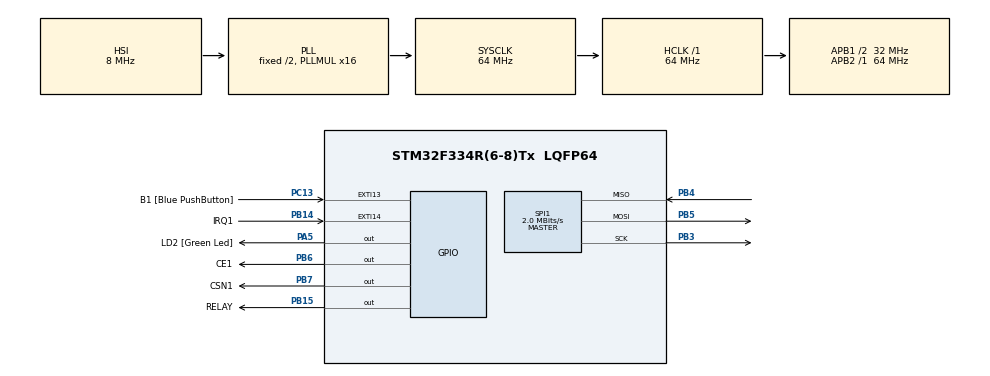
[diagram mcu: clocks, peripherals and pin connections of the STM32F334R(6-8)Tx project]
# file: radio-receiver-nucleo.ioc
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Mcu.Family=STM32F3
Mcu.Name=STM32F334R(6-8)Tx
Mcu.Package=LQFP64
NVIC.EXTI15_10_IRQn=true\:0\:0\:false\:false\:true\:true\:true
NVIC.PriorityGroup=NVIC_PRIORITYGROUP_0
NVIC.TIM1_UP_TIM16_IRQn=true\:0\:0\:false\:false\:true\:true\:true
PA13.GPIO_Label=TMS
PA13.Mode=Serial_Wire
PA13.Signal=SYS_JTMS-SWDIO
PA14.GPIO_Label=TCK
PA14.Mode=Serial_Wire
PA14.Signal=SYS_JTCK-SWCLK
PA2.GPIO_Label=USART_TX
PA2.Signal=USART2_TX
PA3.GPIO_Label=USART_RX
PA3.Signal=USART2_RX
PA5.GPIO_Label=LD2 [Green Led]
PA5.Signal=GPIO_Output
PB14.GPIO_Label=IRQ1
PB14.GPIO_ModeDefaultEXTI=GPIO_MODE_IT_FALLING
PB14.GPIO_PuPd=GPIO_PULLUP
PB14.Signal=GPXTI14
PB15.GPIO_Label=RELAY
PB15.GPIO_PuPd=GPIO_NOPULL
PB15.Signal=GPIO_Output
PB3.Mode=Full_Duplex_Master
PB3.Signal=SPI1_SCK
PB4.Mode=Full_Duplex_Master
PB4.Signal=SPI1_MISO
PB5.Mode=Full_Duplex_Master
PB5.Signal=SPI1_MOSI
PB6.GPIO_Label=CE1
PB6.GPIO_PuPd=GPIO_NOPULL
PB6.Signal=GPIO_Output
PB7.GPIO_Label=CSN1
PB7.Signal=GPIO_Output
PC13.GPIO_Label=B1 [Blue PushButton]
PC13.GPIO_ModeDefaultEXTI=GPIO_MODE_IT_FALLING
PC13.Signal=GPXTI13
PC14\ /\ OSC32_IN.Mode=LSE-External-Oscillator
PC14\ /\ OSC32_IN.Signal=RCC_OSC32_IN
PC15\ /\ OSC32_OUT.GPIO_Label=RCC_OSC32_OUT
PC15\ /\ OSC32_OUT.Mode=LSE-External-Oscillator
PC15\ /\ OSC32_OUT.Signal=RCC_OSC32_OUT
PF0\ /\ OSC_IN.Mode=HSE-External-Clock-Source
PF0\ /\ OSC_IN.Signal=RCC_OSC_IN
PF1\ /\ OSC_OUT.Signal=RCC_OSC_OUT
ProjectManager.HeapSize=0x200
ProjectManager.StackSize=0x400
ProjectManager.TargetToolchain=MDK-ARM V5
RCC.AHBFreq_Value=64000000
RCC.APB1CLKDivider=RCC_HCLK_DIV2
RCC.APB1Freq_Value=32000000
RCC.APB1TimFreq_Value=64000000
RCC.APB2Freq_Value=64000000
RCC.APB2TimFreq_Value=64000000
RCC.CortexFreq_Value=64000000
RCC.FLatency-AdvancedSettings=FLASH_LATENCY_2
RCC.HCLKFreq_Value=64000000
RCC.HSE_VALUE=8000000
RCC.HSI_VALUE=8000000
RCC.PLLMUL=RCC_PLL_MUL16
RCC.SYSCLKFreq_VALUE=64000000
RCC.SYSCLKSourceVirtual=RCC_SYSCLKSOURCE_PLLCLK
SPI1.BaudRatePrescaler=SPI_BAUDRATEPRESCALER_32
SPI1.CalculateBaudRate=2.0 MBits/s
SPI1.DataSize=SPI_DATASIZE_8BIT
SPI1.Direction=SPI_DIRECTION_2LINES
SPI1.Mode=SPI_MODE_MASTER
SPI1.VirtualType=VM_MASTER
TIM1.Period=3000
TIM1.Prescaler=6399
VP_TIM1_VS_ClockSourceINT.Mode=Internal
board=NUCLEO-F334R8

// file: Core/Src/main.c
/* USER CODE BEGIN Header */
/**
  ******************************************************************************
  * @file           : main.c
  * @brief          : Main program body
  ******************************************************************************
  * @attention
  *
  * <h2><center>&copy; Copyright (c) 2021 STMicroelectronics.
  * All rights reserved.</center></h2>
  *
  * This software component is licensed by ST under BSD 3-Clause license,
  * the "License"; You may not use this file except in compliance with the
  * License. You may obtain a copy of the License at:
  *                        opensource.org/licenses/BSD-3-Clause
  *
  ******************************************************************************
  */
/* USER CODE END Header */
#include "main.h"

/* USER CODE BEGIN Includes */
#include "NRF24.h"

#include <string.h>
#include <stdio.h>

/* USER CODE END Includes */

SPI_HandleTypeDef hspi1;

TIM_HandleTypeDef htim1;

/* USER CODE BEGIN PV */
char str1[150]={0};
uint8_t dt_reg=0;
uint8_t receive=0x03;
/* USER CODE END PV */

void SystemClock_Config(void);
static void MX_GPIO_Init(void);
static void MX_SPI1_Init(void);
static void MX_TIM1_Init(void);

int main(void)
{
  /* USER CODE BEGIN 1 */

	uint8_t retr_cnt, dt;
	uint8_t i=0;
  /* USER CODE END 1 */

  /* MCU Configuration--------------------------------------------------------*/

  /* Reset of all peripherals, Initializes the Flash interface and the Systick. */
  HAL_Init();

  /* Configure the system clock */
  SystemClock_Config();

  /* Initialize all configured peripherals */
  MX_GPIO_Init();
  MX_SPI1_Init();
  MX_TIM1_Init();
  /* USER CODE BEGIN 2 */
	HAL_TIM_Base_Start_IT(&htim1);
	//LED8_TGL;
	NRF24_ini();
	HAL_Delay(200);
	//NRF24_ini2();
  /* USER CODE BEGIN TIM1_UP_TIM16_IRQn 0 */
	//LED2_TGL;
//	NRF24_WriteReg(CONFIG, 0x38);
//	HAL_Delay(300);
//	NRF24_ini();
  /* USER CODE END TIM1_UP_TIM16_IRQn 0 */
  /* USER CODE END 2 */

  /* Infinite loop */
  while (1)
  {

    /* USER CODE BEGIN 3 */
							i=0;
//		do
//		{
			HAL_Delay(300);
		//LED2_TGL;
//			receive=NRF24L01_Receive();
//			i++;
//		}
//		while (receive!=0x85 && receive!=0x6F && i<15);

	dt_reg = NRF24_ReadReg(CONFIG);

  sprintf(str1,"CONFIG: 0x%02X\r\n",dt_reg);
	sprintf(str1,"CONFIG: 0x%02X\r\n",dt_reg);
//  HAL_UART_Transmit(&huart1,(uint8_t*)str1,strlen(str1),0x1000);

  dt_reg = NRF24_ReadReg(EN_AA);

  sprintf(str1,"EN_AA: 0x%02X\r\n",receive);

//  HAL_UART_Transmit(&huart1,(uint8_t*)str1,strlen(str1),0x1000);

  dt_reg = NRF24_ReadReg(EN_RXADDR);

  sprintf(str1,"EN_RXADDR: 0x%02X\r\n",dt_reg);

//  HAL_UART_Transmit(&huart1,(uint8_t*)str1,strlen(str1),0x1000);

  dt_reg = NRF24_ReadReg(STATUS);

  sprintf(str1,"STATUS: 0x%02X\r\n",dt_reg);

//  HAL_UART_Transmit(&huart1,(uint8_t*)str1,strlen(str1),0x1000);

  dt_reg = NRF24_ReadReg(RF_SETUP);

  sprintf(str1,"RF_SETUP: 0x%02X\r\n",dt_reg);

//  HAL_UART_Transmit(&huart1,(uint8_t*)str1,strlen(str1),0x1000);

//  NRF24_Read_Buf(TX_ADDR,buf1,3);

//  sprintf(str1,"TX_ADDR: 0x%02X, 0x%02X, 0x%02Xrn",buf1[0],buf1[1],buf1[2]);

//  HAL_UART_Transmit(&huart1,(uint8_t*)str1,strlen(str1),0x1000);

//  NRF24_Read_Buf(RX_ADDR_P1,buf1,3);

//  sprintf(str1,"RX_ADDR: 0x%02X, 0x%02X, 0x%02Xrn",buf1[0],buf1[1],buf1[2]);

//  HAL_UART_Transmit(&huart1,(uint8_t*)str1,strlen(str1),0x1000);

  }
  /* USER CODE END 3 */
}

void SystemClock_Config(void)
{
  RCC_OscInitTypeDef RCC_OscInitStruct = {0};
  RCC_ClkInitTypeDef RCC_ClkInitStruct = {0};
  RCC_PeriphCLKInitTypeDef PeriphClkInit = {0};

  /** Initializes the RCC Oscillators according to the specified parameters
  * in the RCC_OscInitTypeDef structure.
  */
  RCC_OscInitStruct.OscillatorType = RCC_OSCILLATORTYPE_HSI;
  RCC_OscInitStruct.HSIState = RCC_HSI_ON;
  RCC_OscInitStruct.HSICalibrationValue = RCC_HSICALIBRATION_DEFAULT;
  RCC_OscInitStruct.PLL.PLLState = RCC_PLL_ON;
  RCC_OscInitStruct.PLL.PLLSource = RCC_PLLSOURCE_HSI;
  RCC_OscInitStruct.PLL.PLLMUL = RCC_PLL_MUL16;
  if (HAL_RCC_OscConfig(&RCC_OscInitStruct) != HAL_OK)
  {
    Error_Handler();
  }
  /** Initializes the CPU, AHB and APB buses clocks
  */
  RCC_ClkInitStruct.ClockType = RCC_CLOCKTYPE_HCLK|RCC_CLOCKTYPE_SYSCLK
                              |RCC_CLOCKTYPE_PCLK1|RCC_CLOCKTYPE_PCLK2;
  RCC_ClkInitStruct.SYSCLKSource = RCC_SYSCLKSOURCE_PLLCLK;
  RCC_ClkInitStruct.AHBCLKDivider = RCC_SYSCLK_DIV1;
  RCC_ClkInitStruct.APB1CLKDivider = RCC_HCLK_DIV2;
  RCC_ClkInitStruct.APB2CLKDivider = RCC_HCLK_DIV1;

  if (HAL_RCC_ClockConfig(&RCC_ClkInitStruct, FLASH_LATENCY_2) != HAL_OK)
  {
    Error_Handler();
  }
  PeriphClkInit.PeriphClockSelection = RCC_PERIPHCLK_TIM1;
  PeriphClkInit.Tim1ClockSelection = RCC_TIM1CLK_HCLK;
  if (HAL_RCCEx_PeriphCLKConfig(&PeriphClkInit) != HAL_OK)
  {
    Error_Handler();
  }
}

static void MX_SPI1_Init(void)
{

  /* SPI1 parameter configuration*/
  hspi1.Instance = SPI1;
  hspi1.Init.Mode = SPI_MODE_MASTER;
  hspi1.Init.Direction = SPI_DIRECTION_2LINES;
  hspi1.Init.DataSize = SPI_DATASIZE_8BIT;
  hspi1.Init.CLKPolarity = SPI_POLARITY_LOW;
  hspi1.Init.CLKPhase = SPI_PHASE_1EDGE;
  hspi1.Init.NSS = SPI_NSS_SOFT;
  hspi1.Init.BaudRatePrescaler = SPI_BAUDRATEPRESCALER_32;
  hspi1.Init.FirstBit = SPI_FIRSTBIT_MSB;
  hspi1.Init.TIMode = SPI_TIMODE_DISABLE;
  hspi1.Init.CRCCalculation = SPI_CRCCALCULATION_DISABLE;
  hspi1.Init.CRCPolynomial = 7;
  hspi1.Init.CRCLength = SPI_CRC_LENGTH_DATASIZE;
  hspi1.Init.NSSPMode = SPI_NSS_PULSE_ENABLE;
  if (HAL_SPI_Init(&hspi1) != HAL_OK)
  {
    Error_Handler();
  }

}

static void MX_TIM1_Init(void)
{

  TIM_ClockConfigTypeDef sClockSourceConfig = {0};
  TIM_MasterConfigTypeDef sMasterConfig = {0};

  htim1.Instance = TIM1;
  htim1.Init.Prescaler = 6399;
  htim1.Init.CounterMode = TIM_COUNTERMODE_UP;
  htim1.Init.Period = 3000;
  htim1.Init.ClockDivision = TIM_CLOCKDIVISION_DIV1;
  htim1.Init.RepetitionCounter = 0;
  htim1.Init.AutoReloadPreload = TIM_AUTORELOAD_PRELOAD_DISABLE;
  if (HAL_TIM_Base_Init(&htim1) != HAL_OK)
  {
    Error_Handler();
  }
  sClockSourceConfig.ClockSource = TIM_CLOCKSOURCE_INTERNAL;
  if (HAL_TIM_ConfigClockSource(&htim1, &sClockSourceConfig) != HAL_OK)
  {
    Error_Handler();
  }
  sMasterConfig.MasterOutputTrigger = TIM_TRGO_RESET;
  sMasterConfig.MasterOutputTrigger2 = TIM_TRGO2_RESET;
  sMasterConfig.MasterSlaveMode = TIM_MASTERSLAVEMODE_DISABLE;
  if (HAL_TIMEx_MasterConfigSynchronization(&htim1, &sMasterConfig) != HAL_OK)
  {
    Error_Handler();
  }

}

static void MX_GPIO_Init(void)
{
  GPIO_InitTypeDef GPIO_InitStruct = {0};

  /* GPIO Ports Clock Enable */
  __HAL_RCC_GPIOC_CLK_ENABLE();
  __HAL_RCC_GPIOF_CLK_ENABLE();
  __HAL_RCC_GPIOA_CLK_ENABLE();
  __HAL_RCC_GPIOB_CLK_ENABLE();

  /*Configure GPIO pin Output Level */
  HAL_GPIO_WritePin(LD2_GPIO_Port, LD2_Pin, GPIO_PIN_RESET);

  /*Configure GPIO pin Output Level */
  HAL_GPIO_WritePin(GPIOB, RELAY_Pin|CE1_Pin|CSN1_Pin, GPIO_PIN_RESET);

  /*Configure GPIO pin : B1_Pin */
  GPIO_InitStruct.Pin = B1_Pin;
  GPIO_InitStruct.Mode = GPIO_MODE_IT_FALLING;
  GPIO_InitStruct.Pull = GPIO_NOPULL;
  HAL_GPIO_Init(B1_GPIO_Port, &GPIO_InitStruct);

  /*Configure GPIO pins : USART_TX_Pin USART_RX_Pin */
  GPIO_InitStruct.Pin = USART_TX_Pin|USART_RX_Pin;
  GPIO_InitStruct.Mode = GPIO_MODE_AF_PP;
  GPIO_InitStruct.Pull = GPIO_NOPULL;
  GPIO_InitStruct.Speed = GPIO_SPEED_FREQ_HIGH;
  GPIO_InitStruct.Alternate = GPIO_AF7_USART2;
  HAL_GPIO_Init(GPIOA, &GPIO_InitStruct);

  /*Configure GPIO pin : LD2_Pin */
  GPIO_InitStruct.Pin = LD2_Pin;
  GPIO_InitStruct.Mode = GPIO_MODE_OUTPUT_PP;
  GPIO_InitStruct.Pull = GPIO_NOPULL;
  GPIO_InitStruct.Speed = GPIO_SPEED_FREQ_LOW;
  HAL_GPIO_Init(LD2_GPIO_Port, &GPIO_InitStruct);

  /*Configure GPIO pin : IRQ1_Pin */
  GPIO_InitStruct.Pin = IRQ1_Pin;
  GPIO_InitStruct.Mode = GPIO_MODE_IT_FALLING;
  GPIO_InitStruct.Pull = GPIO_PULLUP;
  HAL_GPIO_Init(IRQ1_GPIO_Port, &GPIO_InitStruct);

  /*Configure GPIO pins : RELAY_Pin CE1_Pin CSN1_Pin */
  GPIO_InitStruct.Pin = RELAY_Pin|CE1_Pin|CSN1_Pin;
  GPIO_InitStruct.Mode = GPIO_MODE_OUTPUT_PP;
  GPIO_InitStruct.Pull = GPIO_NOPULL;
  GPIO_InitStruct.Speed = GPIO_SPEED_FREQ_LOW;
  HAL_GPIO_Init(GPIOB, &GPIO_InitStruct);

  /* EXTI interrupt init*/
  HAL_NVIC_SetPriority(EXTI15_10_IRQn, 0, 0);
  HAL_NVIC_EnableIRQ(EXTI15_10_IRQn);

}

void Error_Handler(void)
{
  __disable_irq();
  while (1)
  {
  }
}

/************************ (C) COPYRIGHT STMicroelectronics *****END OF FILE****/
